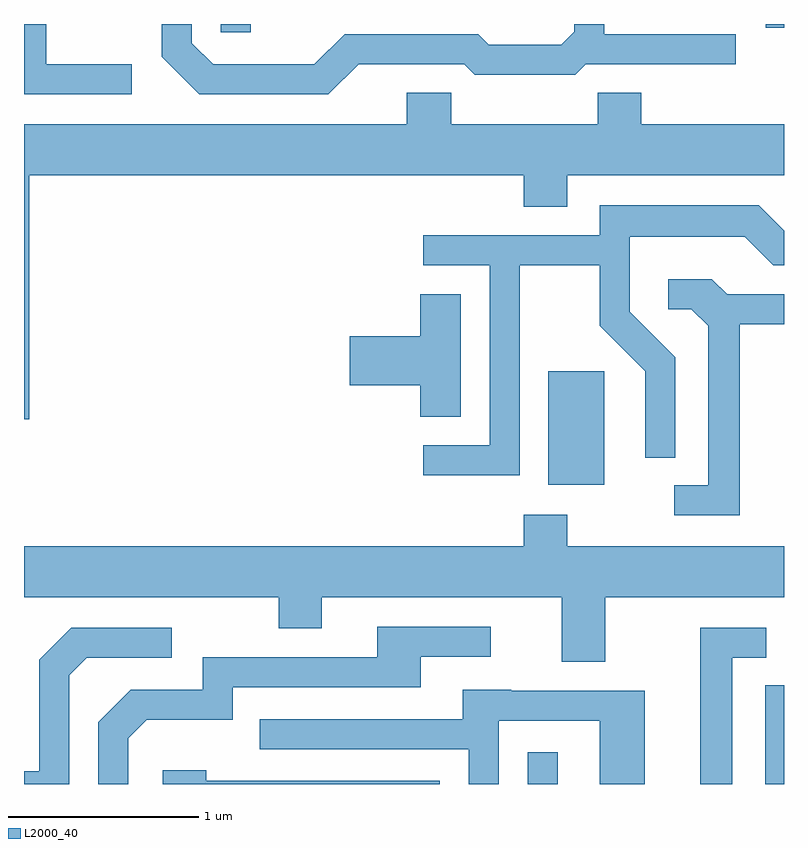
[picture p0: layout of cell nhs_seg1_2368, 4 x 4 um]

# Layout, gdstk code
import gdstk
lib = gdstk.Library(unit=1e-6, precision=1e-09)
def R(c, l, rs):  # rectangles x0, y0, x1, y1
    for r in rs: c.add(gdstk.rectangle(r[:2], r[2:], *l))
def P(c, l, *ps):  # polygons
    for p in ps: c.add(gdstk.Polygon(p, *l))
L2000_40 = (2000, 40)

nhs_seg1_2368 = lib.new_cell('nhs_seg1_2368')
R(nhs_seg1_2368, L2000_40, [(260.261,889.712,260.419,889.878), (261.511,889.712,261.611,890.233), (260.371,891.286,260.664,891.884), (258.646,893.668,258.804,893.712), (261.516,893.691,261.611,893.712)])
P(nhs_seg1_2368, L2000_40, [(258.178,893.499),(257.729,893.499),(257.729,893.712),(257.611,893.712),(257.611,893.341),(258.178,893.341)],
  [(259.372,893.501),(259.929,893.501),(259.984,893.446),(260.512,893.446),(260.567,893.501),(261.358,893.501),(261.358,893.659),(260.664,893.659),(260.664,893.712),(260.506,893.712),(260.506,893.672),(260.439,893.604),(260.057,893.604),(260.002,893.659),(259.299,893.659),(259.139,893.499),(258.606,893.499),(258.494,893.612),(258.494,893.712),(258.336,893.712),(258.336,893.539),(258.534,893.341),(259.212,893.341)],
  [(257.639,892.916),(260.241,892.916),(260.241,892.751),(260.469,892.751),(260.469,892.916),(261.611,892.916),(261.611,893.184),(260.859,893.184),(260.859,893.349),(260.631,893.349),(260.631,893.184),(259.859,893.184),(259.859,893.349),(259.626,893.349),(259.626,893.184),(257.611,893.184),(257.611,891.631),(257.639,891.631)],
  [(260.219,892.441),(260.641,892.441),(260.641,892.124),(260.881,891.884),(260.881,891.428),(261.039,891.428),(261.039,891.957),(260.799,892.197),(260.799,892.591),(261.404,892.591),(261.554,892.441),(261.611,892.441),(261.611,892.625),(261.477,892.759),(260.641,892.759),(260.641,892.599),(259.712,892.599),(259.712,892.441),(260.061,892.441),(260.061,891.494),(259.712,891.494),(259.712,891.336),(260.219,891.336)],
  [(261.379,892.131),(261.611,892.131),(261.611,892.289),(261.312,892.289),(261.231,892.369),(261.003,892.369),(261.003,892.211),(261.123,892.211),(261.211,892.124),(261.211,891.284),(261.033,891.284),(261.033,891.126),(261.379,891.126)],
  [(259.909,892.289),(259.696,892.289),(259.696,892.069),(259.326,892.069),(259.326,891.811),(259.696,891.811),(259.696,891.646),(259.909,891.646)],
  [(260.669,890.696),(261.611,890.696),(261.611,890.964),(260.469,890.964),(260.469,891.129),(260.241,891.129),(260.241,890.964),(257.611,890.964),(257.611,890.696),(258.951,890.696),(258.951,890.531),(259.179,890.531),(259.179,890.696),(260.441,890.696),(260.441,890.356),(260.669,890.356)],
  [(258.159,889.954),(258.257,890.051),(258.709,890.051),(258.709,890.221),(259.699,890.221),(259.699,890.381),(260.068,890.381),(260.068,890.539),(259.471,890.539),(259.471,890.379),(258.551,890.379),(258.551,890.209),(258.174,890.209),(258.001,890.037),(258.001,889.712),(258.159,889.712)],
  [(257.849,890.284),(257.942,890.376),(258.388,890.376),(258.388,890.534),(257.859,890.534),(257.691,890.367),(257.691,889.779),(257.611,889.779),(257.611,889.712),(257.849,889.712)],
  [(261.339,890.376),(261.517,890.376),(261.517,890.534),(261.171,890.534),(261.171,889.712),(261.339,889.712)],
  [(260.109,890.046),(260.641,890.046),(260.641,889.712),(260.879,889.712),(260.879,890.204),(260.175,890.204),(260.175,890.209),(259.921,890.209),(259.921,890.054),(258.853,890.054),(258.853,889.896),(259.951,889.896),(259.951,889.712),(260.109,889.712)],
  [(259.799,889.729),(258.569,889.729),(258.569,889.784),(258.341,889.784),(258.341,889.712),(259.799,889.712)])

lib.write_gds('nhs_seg1_2368.gds')
